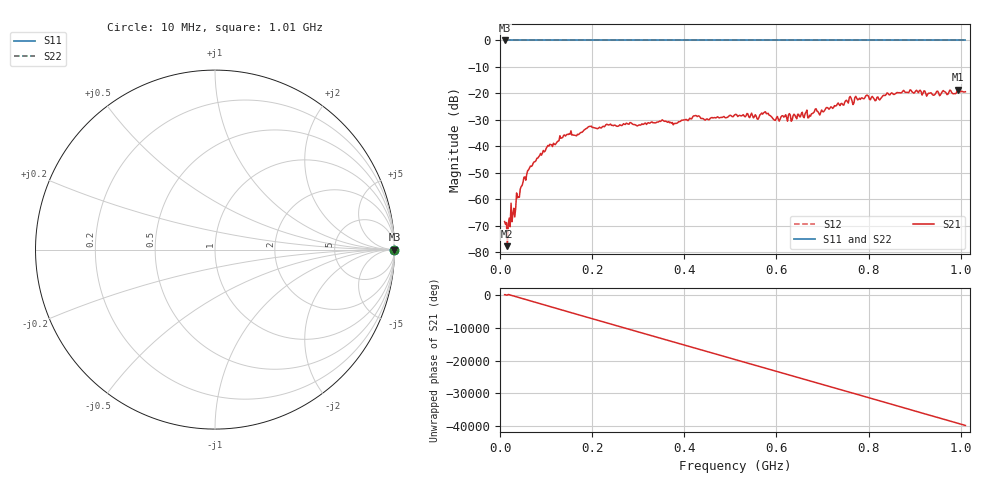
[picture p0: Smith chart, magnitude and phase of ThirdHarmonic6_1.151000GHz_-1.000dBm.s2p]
! 8/16/2025 11:26:01 AM
! C:\ANRITSUVNA\TEMP\TEMP.S2P
! CHANNEL.1
! TR.MEASUREMENT
! RAW.DATA
! RF.CORRECTION.OFF
! AVERAGING.OFF
! IF.BANDWIDTH: 5KHZ
! SWEEPTYPE:  FREQ.SWEEP(Linear)
! Reference Plane Port Info
! PORT:  PORT1  PORT2
! DISTANCE:  0  m  0  m
! TIME:  0  s  0  s
! PHASE.OFFSET:  0  deg.  0  deg.
! LOSS:  0  dB  0  dB
! REF.LOSS:  0  dB  0  dB
! REF.FREQ:  0  Hz  0  Hz
! Power Info
! POWER:  -20  dBm  -20  dBm
! EFF.POWER:  -20  dBm  -20  dBm
! SOURCE.ATTEN:  0  dB  0  dB
! TEST.ATTEN:  0  dB  0  dB
# GHZ S RI R 50.0
! FREQ.GHZ  S11RE  S11IM  S21RE  S21IM  S12RE  S12IM  S22RE  S22IM
!; PortSelection: Port_12
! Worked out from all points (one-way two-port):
!   501 points, 10 MHz to 1.01 GHz, reference 50 ohm
!   highest |S21| = -18.63 dB at 994 MHz (marker M1); lowest = -77.8 dB at 16 MHz (marker M2)
!   lowest |S11| = 0.0 dB at 10 MHz (marker M3)
!   |S11| at or under -10 dB: nowhere
!   |S22| runs from 0.0 to 0.0 dB; largest |S21 - S12| = 1.1
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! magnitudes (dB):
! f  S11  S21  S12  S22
! 10 MHz  0.0  -68.5  0.0  0.0
! 16 MHz  0.0  -77.8  0.0  0.0
! 30 MHz  0.0  -63.5  0.0  0.0
! 50 MHz  0.0  -53.6  0.0  0.0
! 70 MHz  0.0  -47.3  0.0  0.0
! 104 MHz  0.0  -39.7  0.0  0.0
! 134 MHz  0.0  -36.8  0.0  0.0
! 178 MHz  0.0  -34.7  0.0  0.0
! 194 MHz  0.0  -32.5  0.0  0.0
! 344 MHz  0.0  -30.8  0.0  0.0
! 380 MHz  0.0  -31.4  0.0  0.0
! 422 MHz  0.0  -28.5  0.0  0.0
! 448 MHz  0.0  -29.7  0.0  0.0
! 510 MHz  0.0  -28.1  0.0  0.0
! 560 MHz  0.0  -29.8  0.0  0.0
! 578 MHz  0.0  -27.7  0.0  0.0
! 596 MHz  0.0  -30.2  0.0  0.0
! 678 MHz  0.0  -27.7  0.0  0.0
! 758 MHz  0.0  -21.6  0.0  0.0
! 844 MHz  0.0  -20.5  0.0  0.0
! 994 MHz  0.0  -18.6  0.0  0.0
! 1.01 GHz  0.0  -19.4  0.0  0.0
